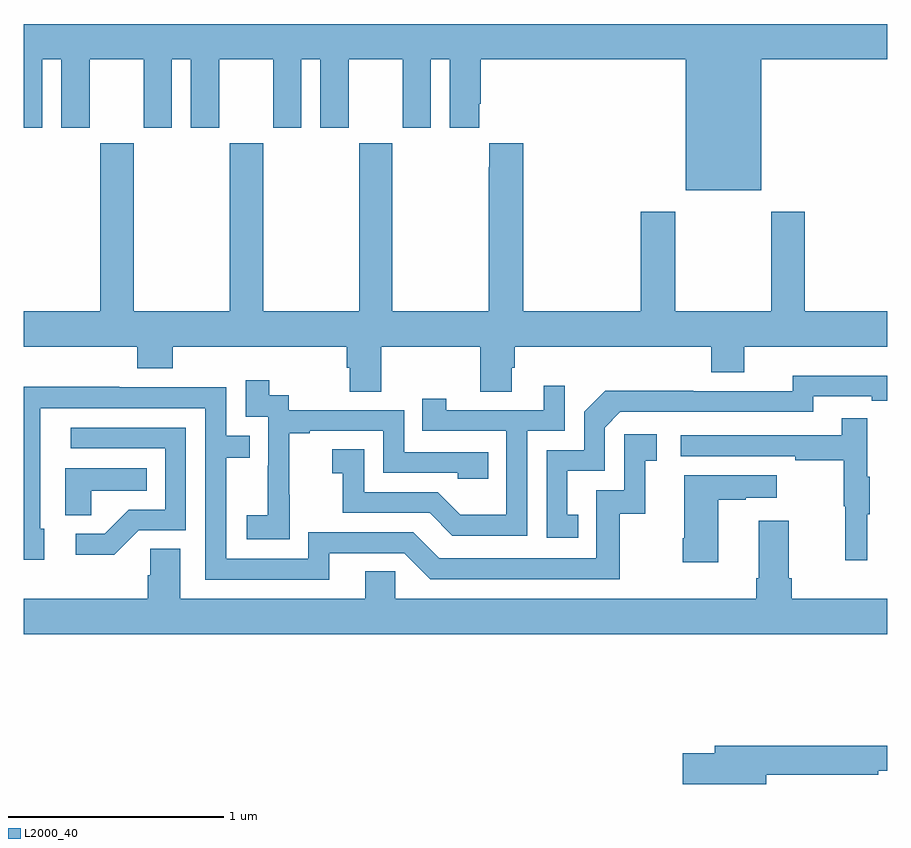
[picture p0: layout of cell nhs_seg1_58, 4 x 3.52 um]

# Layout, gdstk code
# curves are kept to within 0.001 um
import gdstk
lib = gdstk.Library(unit=1e-6, precision=1e-09)
def P(c, l, *ps):  # polygons
    for p in ps: c.add(gdstk.Polygon(p, *l))
L2000_40 = (2000, 40)

nhs_seg1_58 = lib.new_cell('nhs_seg1_58')
P(nhs_seg1_58, L2000_40, [(116.416,555.728),(117,555.728),(117,555.892),(113,555.892),(113,555.411),(113.086,555.411),(113.086,555.728),(113.174,555.728),(113.174,555.411),(113.305,555.411),(113.305,555.728),(113.555,555.728),(113.555,555.411),(113.686,555.411),(113.686,555.728),(113.774,555.728),(113.774,555.411),(113.905,555.411),(113.905,555.728),(114.155,555.728),(114.155,555.411),(114.286,555.411),(114.286,555.728),(114.374,555.728),(114.374,555.411),(114.505,555.411),(114.505,555.728),(114.755,555.728),(114.755,555.411),(114.886,555.411),(114.886,555.728),(114.974,555.728),(114.974,555.411),(115.111,555.411),(115.111,555.523),(115.118,555.523),(115.118,555.728),(116.066,555.728),(116.066,555.122),(116.416,555.122)],
  [(114.657,554.396),(115.114,554.396),(115.114,554.188),(115.261,554.188),(115.261,554.298),(115.274,554.298),(115.274,554.396),(116.186,554.396),(116.186,554.279),(116.338,554.279),(116.338,554.396),(117,554.396),(117,554.56),(116.619,554.56),(116.619,555.022),(116.464,555.022),(116.464,554.56),(116.019,554.56),(116.019,555.022),(115.859,555.022),(115.859,554.56),(115.313,554.56),(115.313,555.34),(115.157,555.34),(115.157,555.227),(115.153,555.227),(115.153,554.56),(114.708,554.56),(114.708,555.34),(114.553,555.34),(114.553,554.56),(114.108,554.56),(114.108,555.34),(113.953,555.34),(113.953,554.56),(113.508,554.56),(113.508,555.34),(113.353,555.34),(113.353,554.56),(113,554.56),(113,554.396),(113.525,554.396),(113.525,554.297),(113.69,554.297),(113.69,554.396),(114.497,554.396),(114.497,554.298),(114.509,554.298),(114.509,554.188),(114.657,554.188)],
  [(115.568,553.617),(115.519,553.617),(115.519,553.821),(115.692,553.821),(115.692,554.022),(115.764,554.094),(116.658,554.094),(116.658,554.166),(116.93,554.166),(116.93,554.146),(117,554.146),(117,554.262),(116.562,554.263),(116.562,554.19),(116.102,554.19),(116.102,554.192),(115.694,554.192),(115.596,554.094),(115.596,553.917),(115.422,553.917),(115.422,553.512),(115.568,553.512)],
  [(114.231,553.711),(114.23,553.711),(114.23,553.995),(114.325,553.995),(114.325,554.007),(114.666,554.007),(114.666,553.812),(115.011,553.812),(115.011,553.785),(115.151,553.785),(115.151,553.908),(114.762,553.908),(114.762,554.103),(114.228,554.103),(114.228,554.172),(114.136,554.172),(114.136,554.242),(114.027,554.242),(114.027,554.073),(114.132,554.073),(114.132,553.844),(114.131,553.844),(114.131,553.615),(114.033,553.615),(114.033,553.505),(114.231,553.505)],
  [(115.332,554.007),(115.506,554.007),(115.506,554.215),(115.409,554.215),(115.409,554.103),(114.958,554.103),(114.958,554.155),(114.847,554.155),(114.847,554.007),(115.236,554.007),(115.236,553.618),(115.022,553.618),(114.918,553.722),(114.576,553.722),(114.576,553.921),(114.429,553.921),(114.429,553.811),(114.478,553.811),(114.478,553.626),(114.881,553.626),(114.986,553.521),(115.332,553.521)],
  [(114.415,553.44),(114.762,553.44),(114.882,553.32),(115.762,553.32),(115.762,553.623),(115.88,553.623),(115.88,553.869),(115.933,553.869),(115.933,553.99),(115.782,553.99),(115.782,553.731),(115.653,553.731),(115.653,553.416),(114.924,553.416),(114.804,553.536),(114.318,553.536),(114.318,553.413),(113.937,553.413),(113.937,553.882),(114.047,553.882),(114.047,553.983),(113.937,553.983),(113.937,554.208),(113.441,554.208),(113.441,554.21),(113,554.21),(113,553.41),(113.095,553.41),(113.095,553.554),(113.076,553.554),(113.076,554.112),(113.841,554.112),(113.841,553.317),(114.415,553.317)],
  [(116.909,553.619),(116.92,553.619),(116.92,553.793),(116.909,553.793),(116.909,554.065),(116.791,554.065),(116.791,553.986),(116.043,553.986),(116.043,553.89),(116.575,553.89),(116.575,553.87),(116.799,553.87),(116.799,553.656),(116.806,553.656),(116.806,553.407),(116.909,553.407)],
  [(113.532,553.545),(113.751,553.545),(113.751,554.022),(113.217,554.022),(113.217,553.926),(113.655,553.926),(113.655,553.641),(113.486,553.641),(113.375,553.53),(113.241,553.53),(113.241,553.433),(113.419,553.433)],
  [(113.313,553.73),(113.57,553.73),(113.57,553.834),(113.192,553.834),(113.192,553.615),(113.313,553.615)],
  [(116.218,553.687),(116.345,553.687),(116.345,553.697),(116.488,553.697),(116.488,553.801),(116.06,553.801),(116.06,553.51),(116.053,553.51),(116.053,553.398),(116.218,553.398)],
  [(117,553.228),(116.558,553.228),(116.558,553.324),(116.545,553.324),(116.545,553.591),(116.405,553.591),(116.405,553.324),(116.393,553.324),(116.393,553.228),(114.72,553.228),(114.72,553.355),(114.581,553.355),(114.581,553.228),(113.725,553.228),(113.725,553.46),(113.586,553.46),(113.586,553.337),(113.573,553.337),(113.573,553.228),(113,553.228),(113,553.064),(117,553.064)],
  [(116.44,552.412),(116.96,552.412),(116.96,552.431),(117,552.431),(117,552.548),(116.201,552.548),(116.201,552.512),(116.052,552.512),(116.052,552.37),(116.44,552.37)])

lib.write_gds('nhs_seg1_58.gds')
